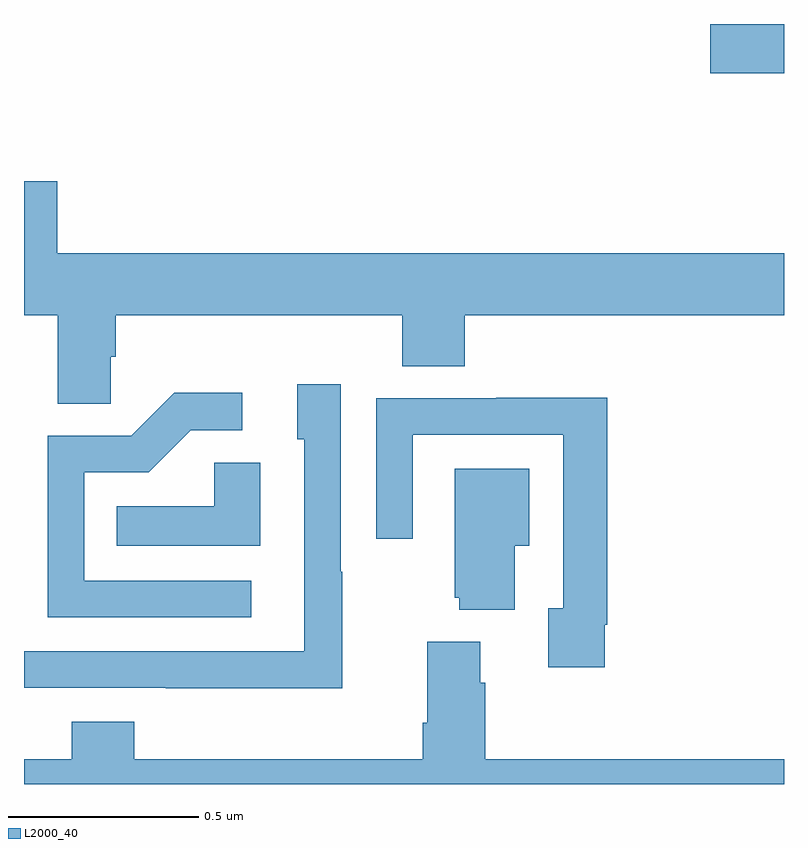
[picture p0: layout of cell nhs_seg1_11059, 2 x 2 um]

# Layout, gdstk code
import gdstk
lib = gdstk.Library(unit=1e-6, precision=1e-09)
def R(c, l, rs):  # rectangles x0, y0, x1, y1
    for r in rs: c.add(gdstk.rectangle(r[:2], r[2:], *l))
def P(c, l, *ps):  # polygons
    for p in ps: c.add(gdstk.Polygon(p, *l))
L2000_40 = (2000, 40)

nhs_seg1_11059 = lib.new_cell('nhs_seg1_11059')
R(nhs_seg1_11059, L2000_40, [(250.806,519.07,251,519.199)])
P(nhs_seg1_11059, L2000_40, [(249.228,518.323),(249.242,518.323),(249.242,518.432),(249.995,518.432),(249.995,518.299),(250.16,518.299),(250.16,518.432),(251,518.432),(251,518.596),(249.088,518.596),(249.088,518.785),(249,518.785),(249,518.432),(249.089,518.432),(249.089,518.2),(249.228,518.2)],
  [(249.837,517.757),(249.834,517.757),(249.834,518.251),(249.719,518.251),(249.719,518.106),(249.738,518.106),(249.738,517.548),(249,517.548),(249,517.452),(249.373,517.452),(249.373,517.451),(249.837,517.451)],
  [(249.598,517.734),(249.159,517.734),(249.159,518.019),(249.328,518.019),(249.439,518.13),(249.574,518.13),(249.574,518.228),(249.395,518.228),(249.282,518.115),(249.063,518.115),(249.063,517.638),(249.598,517.638)],
  [(250.528,517.618),(250.535,517.618),(250.535,518.216),(250.243,518.216),(250.243,518.214),(249.927,518.214),(249.927,517.845),(250.023,517.845),(250.023,518.118),(250.419,518.118),(250.419,517.662),(250.379,517.662),(250.379,517.506),(250.528,517.506)],
  [(249.622,518.045),(249.501,518.045),(249.501,517.93),(249.244,517.93),(249.244,517.826),(249.622,517.826)],
  [(250.291,517.826),(250.33,517.826),(250.33,518.029),(250.133,518.029),(250.133,517.689),(250.145,517.689),(250.145,517.658),(250.291,517.658)],
  [(251,517.264),(250.214,517.264),(250.214,517.466),(250.201,517.466),(250.201,517.573),(250.061,517.573),(250.061,517.36),(250.049,517.36),(250.049,517.264),(249.29,517.264),(249.29,517.363),(249.125,517.363),(249.125,517.264),(249,517.264),(249,517.199),(251,517.199)])

lib.write_gds('nhs_seg1_11059.gds')
